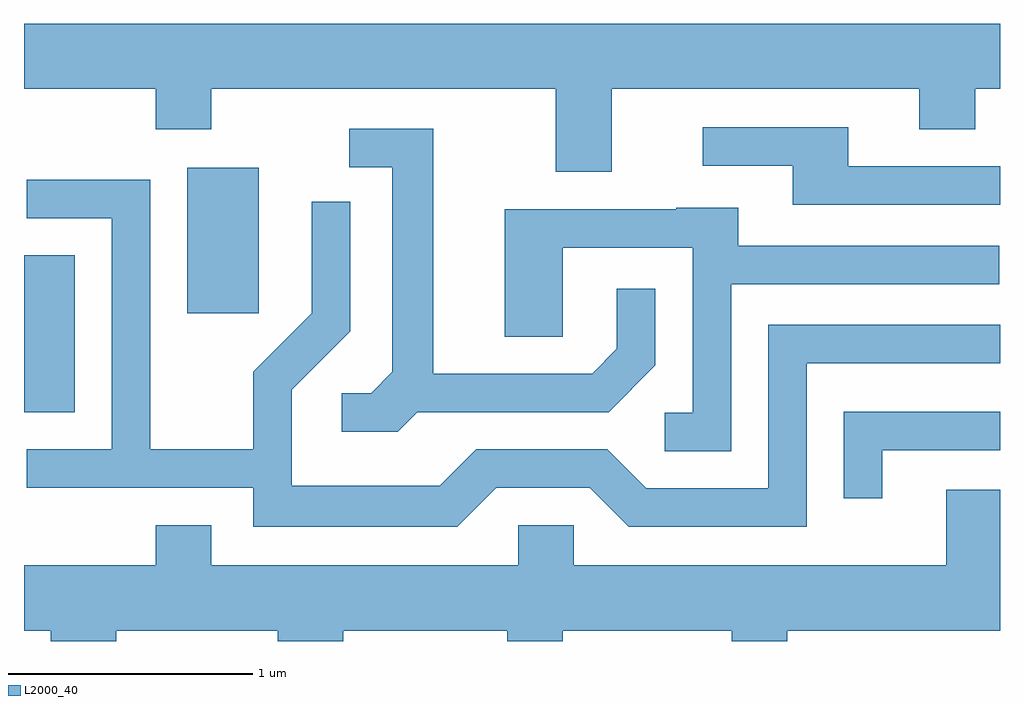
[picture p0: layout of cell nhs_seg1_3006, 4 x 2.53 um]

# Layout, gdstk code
import gdstk
lib = gdstk.Library(unit=1e-6, precision=1e-09)
def R(c, l, rs):  # rectangles x0, y0, x1, y1
    for r in rs: c.add(gdstk.rectangle(r[:2], r[2:], *l))
def P(c, l, *ps):  # polygons
    for p in ps: c.add(gdstk.Polygon(p, *l))
L2000_40 = (2000, 40)

nhs_seg1_3006 = lib.new_cell('nhs_seg1_3006')
R(nhs_seg1_3006, L2000_40, [(275.611,942.651,275.819,943.294), (276.281,943.056,276.574,943.654)])
P(nhs_seg1_3006, L2000_40, [(278.019,943.976),(279.281,943.976),(279.281,943.811),(279.509,943.811),(279.509,943.976),(279.611,943.976),(279.611,944.244),(275.611,944.244),(275.611,943.976),(276.151,943.976),(276.151,943.811),(276.379,943.811),(276.379,943.976),(277.791,943.976),(277.791,943.636),(278.019,943.636)],
  [(279.611,943.659),(278.989,943.659),(278.989,943.819),(278.393,943.819),(278.393,943.661),(278.761,943.661),(278.761,943.501),(279.611,943.501)],
  [(277.222,942.651),(278.007,942.651),(278.199,942.844),(278.199,943.158),(278.041,943.158),(278.041,942.912),(277.939,942.809),(277.289,942.809),(277.289,943.814),(276.943,943.814),(276.943,943.656),(277.121,943.656),(277.121,942.817),(277.034,942.729),(276.913,942.729),(276.913,942.571),(277.142,942.571)],
  [(277.547,942.341),(277.929,942.341),(278.089,942.181),(278.819,942.181),(278.819,942.851),(279.611,942.851),(279.611,943.009),(278.661,943.009),(278.661,942.339),(278.162,942.339),(278.002,942.499),(277.464,942.499),(277.314,942.349),(276.709,942.349),(276.709,942.744),(276.949,942.984),(276.949,943.513),(276.791,943.513),(276.791,943.057),(276.551,942.817),(276.551,942.499),(276.129,942.499),(276.129,943.604),(275.623,943.604),(275.623,943.446),(275.971,943.446),(275.971,942.499),(275.623,942.499),(275.623,942.341),(276.551,942.341),(276.551,942.181),(277.387,942.181)],
  [(278.509,943.176),(279.608,943.176),(279.608,943.334),(278.539,943.334),(278.539,943.489),(278.285,943.489),(278.285,943.484),(277.581,943.484),(277.581,942.961),(277.819,942.961),(277.819,943.326),(278.351,943.326),(278.351,942.649),(278.238,942.649),(278.238,942.491),(278.509,942.491)],
  [(279.129,942.496),(279.611,942.496),(279.611,942.654),(278.971,942.654),(278.971,942.298),(279.129,942.298)],
  [(275.989,941.756),(276.651,941.756),(276.651,941.712),(276.919,941.712),(276.919,941.756),(277.591,941.756),(277.591,941.712),(277.819,941.712),(277.819,941.756),(278.511,941.756),(278.511,941.712),(278.739,941.712),(278.739,941.756),(279.611,941.756),(279.611,942.334),(279.391,942.334),(279.391,942.024),(277.864,942.024),(277.864,942.189),(277.636,942.189),(277.636,942.024),(276.379,942.024),(276.379,942.189),(276.151,942.189),(276.151,942.024),(275.611,942.024),(275.611,941.756),(275.721,941.756),(275.721,941.712),(275.989,941.712)])

lib.write_gds('nhs_seg1_3006.gds')
